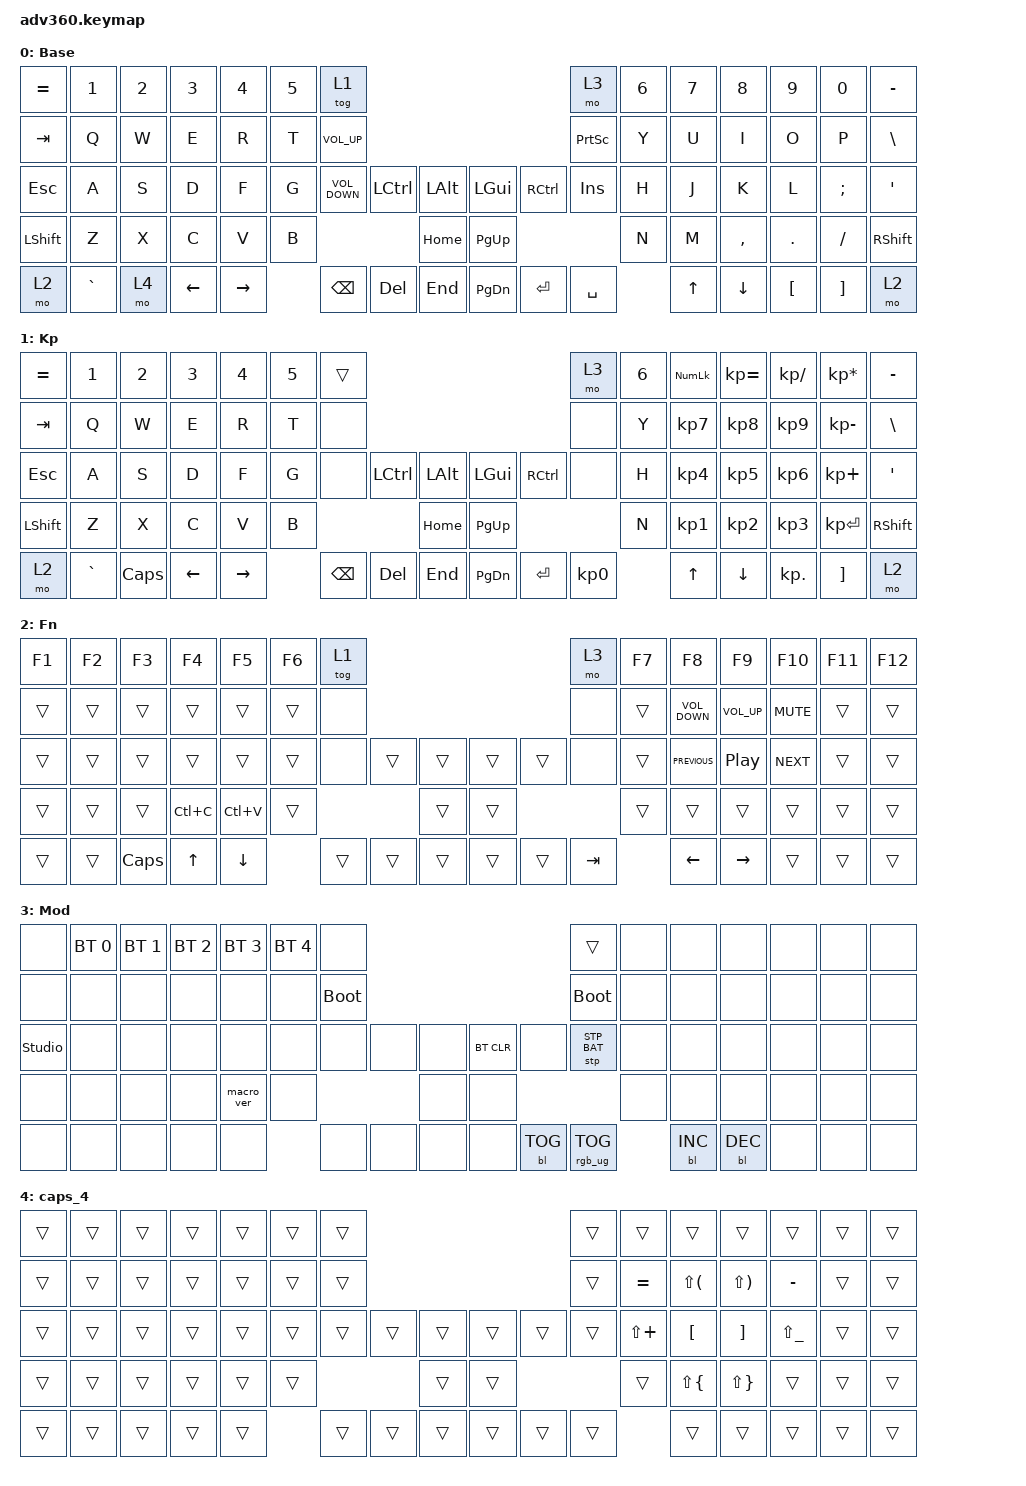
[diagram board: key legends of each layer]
#include <dt-bindings/zmk/stp.h>
#include <behaviors.dtsi>
#include <dt-bindings/zmk/backlight.h>
#include <dt-bindings/zmk/bt.h>
#include <dt-bindings/zmk/keys.h>
#include <dt-bindings/zmk/rgb.h>

/ {
    behaviors {
        #include "macros.dtsi"
      #include "version.dtsi"

        hm: homerow_mods {
            compatible = "zmk,behavior-hold-tap";
            label = "HOMEROW_MODS";
            #binding-cells = <2>;
            tapping-term-ms = <200>;
            quick_tap_ms = <175>;
            flavor = "tap-preferred";
            bindings = <&kp>, <&kp>;
        };
    };

    keymap {
        compatible = "zmk,keymap";

        default_layer {
            display-name = "Base";
            bindings = <
&kp EQUAL  &kp N1     &kp N2  &kp N3    &kp N4     &kp N5  &tog 1                                                            &mo 3            &kp N6  &kp N7  &kp N8     &kp N9    &kp N0    &kp MINUS
&kp TAB    &kp Q      &kp W   &kp E     &kp R      &kp T   &kp C_VOLUME_UP                                                   &kp PRINTSCREEN  &kp Y   &kp U   &kp I      &kp O     &kp P     &kp BSLH
&kp ESC    &kp A      &kp S   &kp D     &kp F      &kp G   &kp C_VOLUME_DOWN  &kp LCTRL  &kp LALT      &kp LGUI   &kp RCTRL  &kp INS          &kp H   &kp J   &kp K      &kp L     &kp SEMI  &kp SQT
&kp LSHFT  &kp Z      &kp X   &kp C     &kp V      &kp B                                 &kp HOME      &kp PG_UP                              &kp N   &kp M   &kp COMMA  &kp DOT   &kp FSLH  &kp RSHFT
&mo 2      &kp GRAVE  &mo 4   &kp LEFT  &kp RIGHT          &kp BSPC           &kp DEL    &kp END       &kp PG_DN  &kp ENTER  &kp SPACE                &kp UP  &kp DOWN   &kp LBKT  &kp RBKT  &mo 2
            >;
        };

        keypad {
            display-name = "Kp";
            bindings = <
&kp EQUAL  &kp N1     &kp N2    &kp N3    &kp N4     &kp N5  &trans                                                   &mo 3      &kp N6  &kp KP_NUM  &kp KP_EQUAL  &kp KP_DIVIDE  &kp KP_MULTIPLY  &kp MINUS
&kp TAB    &kp Q      &kp W     &kp E     &kp R      &kp T   &none                                                    &none      &kp Y   &kp KP_N7   &kp KP_N8     &kp KP_N9      &kp KP_MINUS     &kp BSLH
&kp ESC    &kp A      &kp S     &kp D     &kp F      &kp G   &none     &kp LCTRL  &kp LALT      &kp LGUI   &kp RCTRL  &none      &kp H   &kp KP_N4   &kp KP_N5     &kp KP_N6      &kp KP_PLUS      &kp SQT
&kp LSHFT  &kp Z      &kp X     &kp C     &kp V      &kp B                        &kp HOME      &kp PG_UP                        &kp N   &kp KP_N1   &kp KP_N2     &kp KP_N3      &kp KP_ENTER     &kp RSHFT
&mo 2      &kp GRAVE  &kp CAPS  &kp LEFT  &kp RIGHT          &kp BSPC  &kp DEL    &kp END       &kp PG_DN  &kp ENTER  &kp KP_N0          &kp UP      &kp DOWN      &kp KP_DOT     &kp RBKT         &mo 2
            >;
        };

        fn {
            display-name = "Fn";
            bindings = <
&kp F1  &kp F2  &kp F3    &kp F4     &kp F5     &kp F6  &tog 1                                      &mo 3    &kp F7  &kp F8             &kp F9            &kp F10     &kp F11  &kp F12
&trans  &trans  &trans    &trans     &trans     &trans  &none                                       &none    &trans  &kp C_VOLUME_DOWN  &kp C_VOLUME_UP   &kp C_MUTE  &trans   &trans
&trans  &trans  &trans    &trans     &trans     &trans  &none   &trans  &trans      &trans  &trans  &none    &trans  &kp C_PREVIOUS     &kp C_PLAY_PAUSE  &kp C_NEXT  &trans   &trans
&trans  &trans  &trans    &kp LC(C)  &kp LC(V)  &trans                  &trans      &trans                   &trans  &trans             &trans            &trans      &trans   &trans
&trans  &trans  &kp CAPS  &kp UP     &kp DOWN           &trans  &trans  &trans      &trans  &trans  &kp TAB          &kp LEFT           &kp RIGHT         &trans      &trans   &trans
            >;
        };

        mod {
            display-name = "Mod";
            bindings = <
&none           &bt BT_SEL 0  &bt BT_SEL 1  &bt BT_SEL 2  &bt BT_SEL 3  &bt BT_SEL 4  &none                                                  &trans           &none  &none       &none       &none  &none  &none
&none           &none         &none         &none         &none         &none         &bootloader                                            &bootloader      &none  &none       &none       &none  &none  &none
&studio_unlock  &none         &none         &none         &none         &none         &none        &none  &none      &bt BT_CLR  &none       &stp STP_BAT     &none  &none       &none       &none  &none  &none
&none           &none         &none         &none         &macro_ver    &none                             &none      &none                                    &none  &none       &none       &none  &none  &none
&none           &none         &none         &none         &none                       &none        &none  &none      &none       &bl BL_TOG  &rgb_ug RGB_TOG         &bl BL_INC  &bl BL_DEC  &none  &none  &none
            >;
        };

        caps_4 {
            bindings = <
&trans  &trans  &trans  &trans  &trans  &trans  &trans                                      &trans  &trans        &trans        &trans        &trans         &trans  &trans
&trans  &trans  &trans  &trans  &trans  &trans  &trans                                      &trans  &kp EQUAL     &kp LS(LPAR)  &kp LS(RPAR)  &kp MINUS      &trans  &trans
&trans  &trans  &trans  &trans  &trans  &trans  &trans  &trans  &trans      &trans  &trans  &trans  &kp LS(PLUS)  &kp LBKT      &kp RBKT      &kp LS(UNDER)  &trans  &trans
&trans  &trans  &trans  &trans  &trans  &trans                  &trans      &trans                  &trans        &kp LS(LBRC)  &kp LS(RBRC)  &trans         &trans  &trans
&trans  &trans  &trans  &trans  &trans          &trans  &trans  &trans      &trans  &trans  &trans                &trans        &trans        &trans         &trans  &trans
            >;
        };

        extra1 {
            display-name = "Red";
            status = "reserved";
        };

        extra2 {
            display-name = "Purple";
            status = "reserved";
        };

        extra3 {
            display-name = "Cyan";
            status = "reserved";
        };

        extra4 {
            display-name = "Yellow";
            status = "reserved";
        };
    };
};
